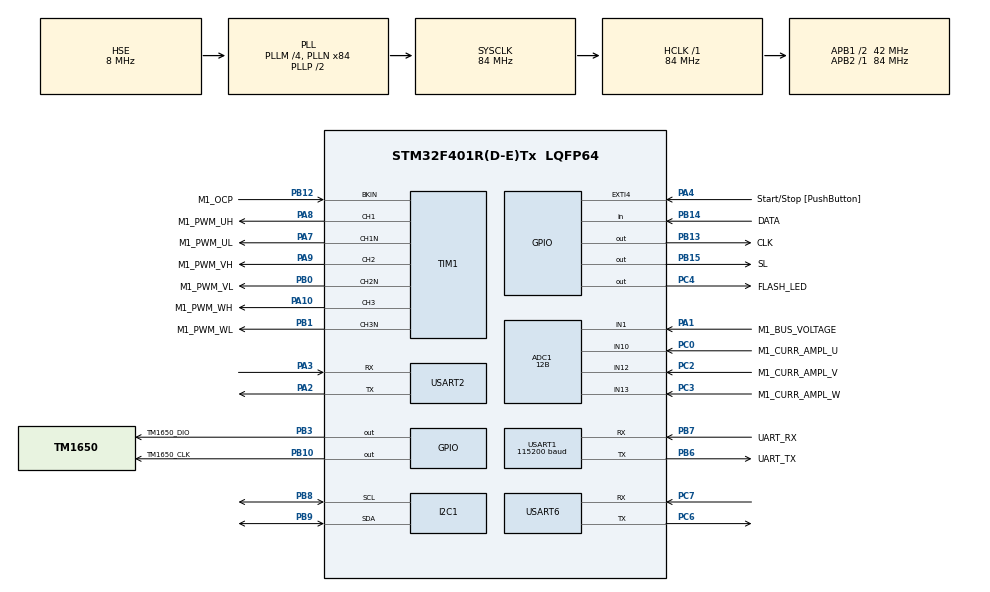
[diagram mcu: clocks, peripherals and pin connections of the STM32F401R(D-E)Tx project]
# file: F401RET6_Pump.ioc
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ADC1.Channel-1\#ChannelInjectedConversion=ADC_CHANNEL_10
ADC1.Channel-1\#ChannelRegularConversion=ADC_CHANNEL_1
ADC1.Channel-2\#ChannelInjectedConversion=ADC_CHANNEL_12
ADC1.Channel-3\#ChannelInjectedConversion=ADC_CHANNEL_13
ADC1.ClockPrescaler=ADC_CLOCK_SYNC_PCLK_DIV4
ADC1.ContinuousConvMode=DISABLE
ADC1.DMAContinuousRequests=DISABLE
ADC1.DataAlign=ADC_DATAALIGN_LEFT
ADC1.DiscontinuousConvMode=DISABLE
ADC1.EOCSelection=ADC_EOC_SINGLE_CONV
ADC1.EnableAnalogWatchDog=false
ADC1.EnableInjectedConversion=ENABLE
ADC1.EnableRegularConversion=ENABLE
ADC1.ExternalTrigConv=ADC_SOFTWARE_START
ADC1.ExternalTrigConvEdge=ADC_EXTERNALTRIGCONVEDGE_NONE
ADC1.ExternalTrigInjecConv=ADC_EXTERNALTRIGINJECCONV_T1_CC4
ADC1.ExternalTrigInjecConvEdge=ADC_EXTERNALTRIGINJECCONVEDGE_RISING
ADC1.InjNumberOfConversion=3
ADC1.InjectedConvMode=None
ADC1.InjectedOffset-1\#ChannelInjectedConversion=0
ADC1.InjectedOffset-2\#ChannelInjectedConversion=0
ADC1.InjectedOffset-3\#ChannelInjectedConversion=0
ADC1.InjectedRank-1\#ChannelInjectedConversion=1
ADC1.InjectedRank-2\#ChannelInjectedConversion=2
ADC1.InjectedRank-3\#ChannelInjectedConversion=3
ADC1.NbrOfConversion=1
ADC1.NbrOfConversionFlag=1
ADC1.Offset-1\#ChannelRegularConversion=0
ADC1.OffsetNumber-1\#ChannelRegularConversion=ADC_OFFSET_NONE
ADC1.Rank-1\#ChannelRegularConversion=1
ADC1.Resolution=ADC_RESOLUTION_12B
ADC1.SamplingTime-1\#ChannelInjectedConversion=ADC_SAMPLETIME_56CYCLES
ADC1.SamplingTime-1\#ChannelRegularConversion=ADC_SAMPLETIME_56CYCLES
ADC1.SamplingTime-2\#ChannelInjectedConversion=ADC_SAMPLETIME_56CYCLES
ADC1.SamplingTime-3\#ChannelInjectedConversion=ADC_SAMPLETIME_56CYCLES
ADC1.ScanConvMode=ENABLE
ADC1.master=1
Dma.Request0=USART1_RX
Dma.Request1=USART1_TX
Dma.USART1_RX.0.Direction=DMA_PERIPH_TO_MEMORY
Dma.USART1_RX.0.FIFOMode=DMA_FIFOMODE_DISABLE
Dma.USART1_RX.0.Instance=DMA2_Stream2
Dma.USART1_RX.0.MemDataAlignment=DMA_MDATAALIGN_BYTE
Dma.USART1_RX.0.MemInc=DMA_MINC_ENABLE
Dma.USART1_RX.0.Mode=DMA_NORMAL
Dma.USART1_RX.0.PeriphDataAlignment=DMA_PDATAALIGN_BYTE
Dma.USART1_RX.0.PeriphInc=DMA_PINC_DISABLE
Dma.USART1_RX.0.Priority=DMA_PRIORITY_LOW
Dma.USART1_TX.1.Direction=DMA_MEMORY_TO_PERIPH
Dma.USART1_TX.1.FIFOMode=DMA_FIFOMODE_DISABLE
Dma.USART1_TX.1.Instance=DMA2_Stream7
Dma.USART1_TX.1.MemDataAlignment=DMA_MDATAALIGN_BYTE
Dma.USART1_TX.1.MemInc=DMA_MINC_ENABLE
Dma.USART1_TX.1.Mode=DMA_NORMAL
Dma.USART1_TX.1.PeriphDataAlignment=DMA_PDATAALIGN_BYTE
Dma.USART1_TX.1.PeriphInc=DMA_PINC_DISABLE
Dma.USART1_TX.1.Priority=DMA_PRIORITY_LOW
ExtraMW=MotorControl
ExtraMW.MotorControl.Config=MotorControl
ExtraMW.MotorControl.Mode=MotorControl
ExtraMW.MotorControl.Root=MCSDK_v5.Y.4-Full/MotorControl
ExtraMW.MotorControl.Template=templates
FREERTOS.Mutexes01=my74HCMutex,Static,myMutex01ControlBlock
FREERTOS.Tasks01=mediumFrequency,0,128,startMediumFrequencyTask,As weak,NULL,Dynamic,NULL,NULL;safety,1,128,StartSafetyTask,As external,NULL,Dynamic,NULL,NULL;heartTask,-1,128,heartTaskEntry,Default,NULL,Static,heartTaskBuffer,heartTaskControlBlock;halTask,-1,128,halTaskEntry,Default,NULL,Static,halTaskBuffer,halTaskControlBlock
Mcu.Family=STM32F4
Mcu.Name=STM32F401R(D-E)Tx
Mcu.Package=LQFP64
MotorControl.ADC_1_PERIPH=ADC1
MotorControl.ADC_2_PERIPH=ADC2
MotorControl.ADC_AHBPERIPH=RCC_AHBPeriph_ADC12
MotorControl.ADC_CLOCK_WB_DIV=1
MotorControl.ADC_CLOCK_WB_FREQ=12
MotorControl.ADC_PERIPH=ADC1
MotorControl.ADC_REFERENCE_VOLTAGE=3.30
MotorControl.ALIGNMENT_ANGLE_DEG=90
MotorControl.ALIGNMENT_DURATION=700
MotorControl.AMPLIFICATION_GAIN=6.00
MotorControl.ANGC={0,0,0,0,0,0,0,0}
MotorControl.BEMF_CONSISTENCY_GAIN=64
MotorControl.BEMF_CONSISTENCY_TOL=64
MotorControl.BKIN1_FILTER=0
MotorControl.BKIN2_FILTER=0
MotorControl.BKIN2_MODE=NONE
MotorControl.BKIN_MODE=NONE
MotorControl.BOARD=CUSTOM
MotorControl.BRKIN2_GPIO_AF=GPIO_AF_2
MotorControl.BRKIN_GPIO_AF=GPIO_AF_1
MotorControl.BUS_VOLTAGE_READING=true
MotorControl.CCMRAM_ENABLED=false
MotorControl.CLOCK_FREQUENCY=CPU_CLK_84_MHZ
MotorControl.CLOCK_SOURCE=EXTERNAL
MotorControl.CONSTANT1_D=102943
MotorControl.CONSTANT1_Q=102943
MotorControl.CONSTANT2_QD=49861
MotorControl.CORD_BEMF_CONSISTENCY_GAIN=64
MotorControl.CORD_BEMF_CONSISTENCY_TOL=64
MotorControl.CORD_F1=16384
MotorControl.CORD_F2=16384
MotorControl.CORD_FIFO_DEPTH_01HZ=64
MotorControl.CORD_FIFO_DEPTH_DPP=64
MotorControl.CORD_GAIN1=-24064
MotorControl.CORD_GAIN2=16060
MotorControl.CORD_MAX_ACCEL_DPPP=51
MotorControl.CORD_MEAS_ERRORS_BEFORE_FAULTS=5
MotorControl.CORD_VARIANCE_THRESHOLD=4
MotorControl.CPU_CLK_84_MHZ=true
MotorControl.CTRBDID=0
MotorControl.CUBE_MX_VER=6.7.0
MotorControl.CURRENT_READING_TOPOLOGY=THREE_SHUNT
MotorControl.CURR_SAMPLING_TIME=3
MotorControl.DAC_EMULATED=false
MotorControl.DAC_FUNCTIONALITY=false
MotorControl.DAC_TIMER_CH1_GPIO_PIN=LL_GPIO_PIN_0
MotorControl.DAC_TIMER_CH1_GPIO_PORT=GPIOA
MotorControl.DAC_TIMER_CH2_GPIO_PIN=LL_GPIO_PIN_0
MotorControl.DAC_TIMER_CH2_GPIO_PORT=GPIOA
MotorControl.DAC_TIMER_SELECTION=TIM3
MotorControl.DC_CURRENT_RS_MEAS=12.00
MotorControl.DEBUG_DAC_CH1=false
MotorControl.DEBUG_DAC_CH2=false
MotorControl.DEFAULT_CONTROL_MODE=STC_SPEED_MODE
MotorControl.DEFAULT_DAC_CHANNEL_1=MC_PROTOCOL_REG_I_A
MotorControl.DEFAULT_DAC_CHANNEL_2=MC_PROTOCOL_REG_I_B
MotorControl.DEFAULT_DAC_MOTOR=0
MotorControl.DEFAULT_FLUX_COMPONENT=0
MotorControl.DEFAULT_TARGET_SPEED_RPM=1500
MotorControl.DEFAULT_TORQUE_COMPONENT=0
MotorControl.DISCONTINUOUS_PWM=false
MotorControl.DISSIPATIVE_BRAKE_POLARITY=DOUT_ACTIVE_HIGH
MotorControl.DRIVES_NUMBER_SELECTION=SINGLEDRIVE
MotorControl.EMERGENCY2_STOP_GPIO_PIN=LL_GPIO_PIN_12
MotorControl.EMERGENCY2_STOP_GPIO_PORT=GPIOB
MotorControl.EMERGENCY_STOP_GPIO_PIN=LL_GPIO_PIN_12
MotorControl.EMERGENCY_STOP_GPIO_PORT=GPIOB
MotorControl.ENABLE_SL_ALGO_FROM_PHASE=3
MotorControl.ENCODER_AVAILABLE=false
MotorControl.ENCODER_PPR=400
MotorControl.ENC_AVERAGING_FIFO_DEPTH=16
MotorControl.ENC_A_GPIO_PIN=LL_GPIO_PIN_0
MotorControl.ENC_A_GPIO_PORT=GPIOA
MotorControl.ENC_B_GPIO_PIN=LL_GPIO_PIN_3
MotorControl.ENC_B_GPIO_PORT=GPIOB
MotorControl.ENC_ICx_FILTER=59
MotorControl.ENC_INVERT_SPEED=false
MotorControl.ENC_MEAS_ERRORS_BEFORE_FAULTS=5
MotorControl.ENC_TIMER_REMAPPING=NO_REMAP_TIM2
MotorControl.ENC_TIMER_SELECTION=ENC_TIM2
MotorControl.ENC_USE_CH3=false
MotorControl.EXT_CLK_8_MHZ=true
MotorControl.EXT_CLOCK_FREQUENCY=EXT_CLK_8_MHZ
MotorControl.F1=16384
MotorControl.F2=16384
MotorControl.FEEDBACK_NET_FILTERING=false
MotorControl.FEED_FORWARD_CURRENT_REG_ENABLING=false
MotorControl.FINAL_I_ALIGNMENT=4646
MotorControl.FLUX_WEAKENING_ENABLING=false
MotorControl.FW_KIDIV=32768
MotorControl.FW_KI_GAIN=5000
MotorControl.FW_KPDIV=32768
MotorControl.FW_KP_GAIN=3000
MotorControl.FW_VOLTAGE_REF=985
MotorControl.GAIN1=-24064
MotorControl.GAIN2=16060
MotorControl.H1_GPIO_PIN=LL_GPIO_PIN_0
MotorControl.H1_GPIO_PORT=GPIOA
MotorControl.H2_GPIO_PIN=LL_GPIO_PIN_3
MotorControl.H2_GPIO_PORT=GPIOB
MotorControl.H3_GPIO_PIN=LL_GPIO_PIN_10
MotorControl.H3_GPIO_PORT=GPIOB
MotorControl.HALL_AVERAGING_FIFO_DEPTH=6
MotorControl.HALL_ICx_FILTER=109
MotorControl.HALL_MEAS_ERRORS_BEFORE_FAULTS=5
MotorControl.HALL_MTPA=false
MotorControl.HALL_PHASE_SHIFT=300
MotorControl.HALL_SENSORS_AVAILABLE=false
MotorControl.HALL_SENSORS_PLACEMENT=DEGREES_120
MotorControl.HALL_TIMER_REMAPPING=NO_REMAP_TIM2
MotorControl.HALL_TIMER_SELECTION=HALL_TIM2
MotorControl.HFI_AMPLITUDE=25
MotorControl.HFI_DC_0_COEFF=0.00146
MotorControl.HFI_DC_1_COEFF=0.002921
MotorControl.HFI_DC_2_COEFF=0.00146
MotorControl.HFI_DC_3_COEFF=1.889033
MotorControl.HFI_DC_4_COEFF=-0.894874
MotorControl.HFI_DEBUG_MODE=false
MotorControl.HFI_FREQUENCY=400
MotorControl.HFI_HIFRAMPLSCAN=25
MotorControl.HFI_HP_ID_0_COEFF=0.920407
MotorControl.HFI_HP_ID_1_COEFF=-1.840814
MotorControl.HFI_HP_ID_2_COEFF=0.920407
MotorControl.HFI_HP_ID_3_COEFF=1.834469
MotorControl.HFI_HP_ID_4_COEFF=-0.847159
MotorControl.HFI_IDH_DELAY=32400
MotorControl.HFI_LOCKFREQ=44
MotorControl.HFI_LP_ID_0_COEFF=0.010248
MotorControl.HFI_LP_ID_1_COEFF=0.020497
MotorControl.HFI_LP_ID_2_COEFF=0.010248
MotorControl.HFI_LP_ID_3_COEFF=1.693906
MotorControl.HFI_LP_ID_4_COEFF=-0.734899
MotorControl.HFI_MAXANGLEDIFF=3640
MotorControl.HFI_MINIMUM_SPEED_RPM=402
MotorControl.HFI_NOTCH_IQD_0_COEFF=0.959976
MotorControl.HFI_NOTCH_IQD_1_COEFF=-1.893066
MotorControl.HFI_NOTCH_IQD_2_COEFF=0.959976
MotorControl.HFI_NOTCH_IQD_3_COEFF=1.893066
MotorControl.HFI_NOTCH_IQD_4_COEFF=-0.919953
MotorControl.HFI_NSDETPOINTSSKIP=10
MotorControl.HFI_NSMAXDETPOINTS=20
MotorControl.HFI_NS_MIN_SAT_DIFF=0
MotorControl.HFI_PID_KIDIV=32768
MotorControl.HFI_PID_KI_DEFAULT=400
MotorControl.HFI_PID_KPDIV=16384
MotorControl.HFI_PID_KP_DEFAULT=800
MotorControl.HFI_PLL_KI_DEFAULT=0.00400
MotorControl.HFI_PLL_KP_DEFAULT=0.00060
MotorControl.HFI_RESTARTTIMESEC=0.1
MotorControl.HFI_RESTART_RPM_TH=(((HFI_STO_RPM_TH)+(STO_HFI_RPM_TH))/2)
MotorControl.HFI_REVERT_DIRECTION=true
MotorControl.HFI_SCANROTATIONSNO=3
MotorControl.HFI_SPD_BUFFER_DEPTH_01HZ=64
MotorControl.HFI_STEPANGLE=3640
MotorControl.HFI_STO_RPM_TH=OBS_MINIMUM_SPEED_RPM
MotorControl.HFI_WAITAFTERNS2=4
MotorControl.HFI_WAITBEFORESN=6
MotorControl.HFI_WAITSYNCH=20
MotorControl.HFI_WAITTRACK=20
MotorControl.HIGH_SIDE_BRAKE_STATE=false
MotorControl.HIGH_SIDE_IDLE_STATE=false
MotorControl.HW_COMPLEMENTED_LOW_SIDE=false
MotorControl.HW_DEAD_TIME_NS=100
MotorControl.HW_OV_CURRENT_PROT_BYPASS=false
MotorControl.ID_DEMAG=-28596
MotorControl.INRUSH_CURRLIMIT_AT_POWER_ON=true
MotorControl.INRUSH_CURRLIMIT_CHANGE_AFTER_MS=1000
MotorControl.INRUSH_CURRLIMIT_ENABLING=false
MotorControl.INRUSH_CURRLIMIT_GPIO_PIN=LL_GPIO_PIN_4
MotorControl.INRUSH_CURRLIMIT_GPIO_PORT=GPIOE
MotorControl.INRUSH_CURR_LIMITER_POLARITY=DOUT_ACTIVE_HIGH
MotorControl.INTERNAL_OVERCURRENTPROTECTION=false
MotorControl.INTERNAL_OVERVOLTAGEPROTECTION=false
MotorControl.IPs=NVIC,RCC,MotorControl,TIM1,ADC1,USART1,FREERTOS,DMA
MotorControl.IQMAX=28596
MotorControl.LCD_JOYSTICK_FUNCTIONALITY=false
MotorControl.LCD_MODE=LCD_FULL
MotorControl.LDLQ_RATIO=1.000
MotorControl.LOW_SIDE_BRAKE_STATE=false
MotorControl.LOW_SIDE_IDLE_STATE=false
MotorControl.LOW_SIDE_SIGNALS_ENABLING=LS_PWM_TIMER
MotorControl.LS=0.000400
MotorControl.MAX_APPLICATION_SPEED=6000
MotorControl.MAX_MODULATION_98_PER_CENT=true
MotorControl.MAX_MODULATION_INDEX=MAX_MODULATION_98_PER_CENT
MotorControl.MCU=STM32F401RE
MotorControl.MCU_TYPE=STM32F401XX
MotorControl.MC_WORKBENCH_VERSION=5.Y.4.21553
MotorControl.MEAS_ERRORS_BEFORE_FAULTS=5
MotorControl.MIN_APPLICATION_SPEED=0
MotorControl.MOTOR_MAX_SPEED_RPM=6000
MotorControl.MOTOR_TYPE=PMSM
MotorControl.MOTOR_VOLTAGE_CONSTANT=8.2
MotorControl.MTPA_ENABLING=false
MotorControl.NB_CONSECUTIVE_TESTS=6
MotorControl.NOMINAL_BUS_VOLTAGE_V=48
MotorControl.NOMINAL_CURRENT=28596
MotorControl.OBS_MEAS_ERRORS_BEFORE_FAULTS=5
MotorControl.OBS_MINIMUM_SPEED_RPM=700
MotorControl.OCPA_INVERTINGINPUT=COMPX_InvertingInput_VREF
MotorControl.OCPA_INVERTINGINPUT_GPIO_PIN=LL_GPIO_PIN_4
MotorControl.OCPA_INVERTINGINPUT_GPIO_PORT=GPIOA
MotorControl.OCPA_INVERTINGINPUT_MODE=INT_MODE
MotorControl.OCPA_NONINVERTINGINPUT=COMP1_NonInvertingInput_PA1
MotorControl.OCPA_NONINVERTINGINPUT_GPIO_PIN=LL_GPIO_PIN_1
MotorControl.OCPA_NONINVERTINGINPUT_GPIO_PORT=GPIOA
MotorControl.OCPA_OUTPUT=COMP_Output_TIM1BKIN2
MotorControl.OCPA_OUTPUTPOL=COMP_OutputPol_NonInverted
MotorControl.OCPA_OUTPUT_GPIO_AF=GPIO_AF_2
MotorControl.OCPA_OUTPUT_GPIO_PIN=LL_GPIO_PIN_0
MotorControl.OCPA_OUTPUT_GPIO_PORT=GPIOA
MotorControl.OCPA_OUTPUT_MODE=INT_MODE
MotorControl.OCPA_SELECTION=COMP1
MotorControl.OCPB_INVERTINGINPUT=COMPX_InvertingInput_VREF
MotorControl.OCPB_INVERTINGINPUT_GPIO_PIN=LL_GPIO_PIN_4
MotorControl.OCPB_INVERTINGINPUT_GPIO_PORT=GPIOA
MotorControl.OCPB_INVERTINGINPUT_MODE=INT_MODE
MotorControl.OCPB_NONINVERTINGINPUT=COMP2_NonInvertingInput_PA7
MotorControl.OCPB_NONINVERTINGINPUT_GPIO_PIN=LL_GPIO_PIN_7
MotorControl.OCPB_NONINVERTINGINPUT_GPIO_PORT=GPIOA
MotorControl.OCPB_OUTPUT=COMP_Output_TIM1BKIN2
MotorControl.OCPB_OUTPUTPOL=COMP_OutputPol_NonInverted
MotorControl.OCPB_OUTPUT_GPIO_AF=GPIO_AF_2
MotorControl.OCPB_OUTPUT_GPIO_PIN=LL_GPIO_PIN_2
MotorControl.OCPB_OUTPUT_GPIO_PORT=GPIOA
MotorControl.OCPB_OUTPUT_MODE=INT_MODE
MotorControl.OCPB_SELECTION=COMP2
MotorControl.OCPC_INVERTINGINPUT=COMPX_InvertingInput_VREF
MotorControl.OCPC_INVERTINGINPUT_GPIO_PIN=LL_GPIO_PIN_4
MotorControl.OCPC_INVERTINGINPUT_GPIO_PORT=GPIOA
MotorControl.OCPC_INVERTINGINPUT_MODE=INT_MODE
MotorControl.OCPC_NONINVERTINGINPUT=COMP3_NonInvertingInput_PD14
MotorControl.OCPC_NONINVERTINGINPUT_GPIO_PIN=LL_GPIO_PIN_14
MotorControl.OCPC_NONINVERTINGINPUT_GPIO_PORT=GPIOD
MotorControl.OCPC_OUTPUT=COMP_Output_TIM1BKIN2
MotorControl.OCPC_OUTPUTPOL=COMP_OutputPol_NonInverted
MotorControl.OCPC_OUTPUT_GPIO_AF=GPIO_AF_2
MotorControl.OCPC_OUTPUT_GPIO_PIN=LL_GPIO_PIN_8
MotorControl.OCPC_OUTPUT_GPIO_PORT=GPIOC
MotorControl.OCPC_OUTPUT_MODE=INT_MODE
MotorControl.OCPC_SELECTION=COMP3
MotorControl.OCPREF=23830
MotorControl.OCP_COMP_THRESHOLD=1.70
MotorControl.OCP_FILTER=COMP_Mode_HighSpeed
MotorControl.OCP_INVERTINGINPUT=COMPX_InvertingInput_VREF
MotorControl.OCP_INVERTINGINPUT_GPIO_PIN=LL_GPIO_PIN_4
MotorControl.OCP_INVERTINGINPUT_GPIO_PORT=GPIOA
MotorControl.OCP_INVERTINGINPUT_MODE=INT_MODE
MotorControl.OCP_NONINVERTINGINPUT=COMP2_NonInvertingInput_PA7
MotorControl.OCP_NONINVERTINGINPUT_GPIO_PIN=LL_GPIO_PIN_7
MotorControl.OCP_NONINVERTINGINPUT_GPIO_PORT=GPIOA
MotorControl.OCP_OUTPUT=COMP_Output_TIM1BKIN2
MotorControl.OCP_OUTPUTPOL=COMP_OutputPol_NonInverted
MotorControl.OCP_OUTPUT_GPIO_AF=GPIO_AF_2
MotorControl.OCP_OUTPUT_GPIO_PIN=LL_GPIO_PIN_2
MotorControl.OCP_OUTPUT_GPIO_PORT=GPIOA
MotorControl.OCP_OUTPUT_MODE=INT_MODE
MotorControl.OCP_SELECTION=COMP2
MotorControl.OFST={0,0,0,0,0,0,0,0}
MotorControl.ON_OVER_VOLTAGE=TURN_OFF_PWM
MotorControl.OPAMP1_INVERTINGINPUT=OPAMP1_InvertingInput_PGA
MotorControl.OPAMP1_INVERTINGINPUT_GPIO_PIN=LL_GPIO_PIN_3
MotorControl.OPAMP1_INVERTINGINPUT_GPIO_PORT=GPIOA
MotorControl.OPAMP1_INVERTINGINPUT_MODE=INT_MODE
MotorControl.OPAMP1_NONINVERTINGINPUT_PHA=OPAMP1_NonInvertingInput_PA1
MotorControl.OPAMP1_NONINVERTINGINPUT_PHA_GPIO_PIN=LL_GPIO_PIN_1
MotorControl.OPAMP1_NONINVERTINGINPUT_PHA_GPIO_PORT=GPIOA
MotorControl.OPAMP1_NONINVERTINGINPUT_PHB=OPAMP1_NonInvertingInput_PA7
MotorControl.OPAMP1_NONINVERTINGINPUT_PHB_GPIO_PIN=LL_GPIO_PIN_7
MotorControl.OPAMP1_NONINVERTINGINPUT_PHB_GPIO_PORT=GPIOA
MotorControl.OPAMP1_OUT_GPIO_PIN=LL_GPIO_PIN_2
MotorControl.OPAMP1_OUT_GPIO_PORT=GPIOA
MotorControl.OPAMP1_SELECTION=OPAMP1
MotorControl.OPAMP2_INVERTINGINPUT=OPAMP2_InvertingInput_PGA
MotorControl.OPAMP2_INVERTINGINPUT_GPIO_PIN=LL_GPIO_PIN_5
MotorControl.OPAMP2_INVERTINGINPUT_GPIO_PORT=GPIOC
MotorControl.OPAMP2_INVERTINGINPUT_MODE=INT_MODE
MotorControl.OPAMP2_NONINVERTINGINPUT_PHA=OPAMP2_NonInvertingInput_PB14
MotorControl.OPAMP2_NONINVERTINGINPUT_PHA_GPIO_PIN=LL_GPIO_PIN_14
MotorControl.OPAMP2_NONINVERTINGINPUT_PHA_GPIO_PORT=GPIOB
MotorControl.OPAMP2_NONINVERTINGINPUT_PHB=OPAMP2_NonInvertingInput_PA7
MotorControl.OPAMP2_NONINVERTINGINPUT_PHB_GPIO_PIN=LL_GPIO_PIN_7
MotorControl.OPAMP2_NONINVERTINGINPUT_PHB_GPIO_PORT=GPIOA
MotorControl.OPAMP2_NONINVERTINGINPUT_PHC=OPAMP2_NonInvertingInput_PB14
MotorControl.OPAMP2_NONINVERTINGINPUT_PHC_GPIO_PIN=LL_GPIO_PIN_14
MotorControl.OPAMP2_NONINVERTINGINPUT_PHC_GPIO_PORT=GPIOB
MotorControl.OPAMP2_OUT_GPIO_PIN=LL_GPIO_PIN_6
MotorControl.OPAMP2_OUT_GPIO_PORT=GPIOA
MotorControl.OPAMP2_SELECTION=OPAMP2
MotorControl.OPAMP3_INVERTINGINPUT=OPAMP1_InvertingInput_PGA
MotorControl.OPAMP3_INVERTINGINPUT_GPIO_PIN=LL_GPIO_PIN_0
MotorControl.OPAMP3_INVERTINGINPUT_GPIO_PORT=GPIOA
MotorControl.OPAMP3_INVERTINGINPUT_MODE=INT_MODE
MotorControl.OPAMP3_SELECTION=OPAMP1
MotorControl.OPAMP_INVERTINGINPUT=OPAMP1_InvertingInput_PGA
MotorControl.OPAMP_INVERTINGINPUT_GPIO_PIN=LL_GPIO_PIN_3
MotorControl.OPAMP_INVERTINGINPUT_GPIO_PORT=GPIOA
MotorControl.OPAMP_INVERTINGINPUT_MODE=INT_MODE
MotorControl.OPAMP_NONINVERTINGINPUT=OPAMP1_NonInvertingInput_PA7
MotorControl.OPAMP_NONINVERTINGINPUT_GPIO_PIN=LL_GPIO_PIN_7
MotorControl.OPAMP_NONINVERTINGINPUT_GPIO_PORT=GPIOA
MotorControl.OPAMP_OUT_GPIO_PIN=LL_GPIO_PIN_2
MotorControl.OPAMP_OUT_GPIO_PORT=GPIOA
MotorControl.OPAMP_PGACONNECT=OPAMP_PGAConnect_No
MotorControl.OPAMP_PGAGAIN=OPAMP_OPAMP_PGAGain_2
MotorControl.OPAMP_SELECTION=OPAMP1
MotorControl.OPAMP_TYPE_GAIN=INTERNAL
MotorControl.OPEN_LOOP_FOC=false
MotorControl.OPEN_LOOP_K=44
MotorControl.OPEN_LOOP_OFF=4400
MotorControl.OPEN_LOOP_SPEED_RAMP_DURATION_MS=1000
MotorControl.OPEN_LOOP_SPEED_RPM=100
MotorControl.OPEN_LOOP_VF=false
MotorControl.OPEN_LOOP_VOLTAGE_d=6000
MotorControl.OVERCURR_FEEDBACK_POLARITY=EMSTOP_ACTIVE_LOW
MotorControl.OVERCURR_PROTECTION_HW_DISABLING=DOUT_ACTIVE_HIGH
MotorControl.OVERMODULATION=false
MotorControl.OVPREF=23830
MotorControl.OVP_FILTER=COMP_Mode_HighSpeed
MotorControl.OVP_INVERTINGINPUT=COMPX_InvertingInput_VREF
MotorControl.OVP_INVERTINGINPUT_GPIO_PIN=LL_GPIO_PIN_4
MotorControl.OVP_INVERTINGINPUT_GPIO_PORT=GPIOA
MotorControl.OVP_INVERTINGINPUT_MODE=INT_MODE
MotorControl.OVP_NONINVERTINGINPUT=COMP7_NonInvertingInput_PA0
MotorControl.OVP_NONINVERTINGINPUT_GPIO_PIN=LL_GPIO_PIN_0
MotorControl.OVP_NONINVERTINGINPUT_GPIO_PORT=GPIOA
MotorControl.OVP_OUTPUT=COMP_Output_TIM1BKIN
MotorControl.OVP_OUTPUTPOL=COMP_OutputPol_NonInverted
MotorControl.OVP_OUTPUT_GPIO_AF=GPIO_AF_2
MotorControl.OVP_OUTPUT_GPIO_PIN=LL_GPIO_PIN_2
MotorControl.OVP_OUTPUT_GPIO_PORT=GPIOC
MotorControl.OVP_OUTPUT_MODE=INT_MODE
MotorControl.OVP_SELECTION=COMP7
MotorControl.OV_CURR_BYPASS_GPIO_PIN=LL_GPIO_PIN_5
MotorControl.OV_CURR_BYPASS_GPIO_PORT=GPIOE
MotorControl.OV_TEMPERATURE_HYSTERESIS_C=10
MotorControl.OV_TEMPERATURE_PROT_ENABLING=false
MotorControl.OV_TEMPERATURE_THRESHOLD_C=70
MotorControl.OV_VOLTAGE_PROT_ENABLING=true
MotorControl.OV_VOLTAGE_THRESHOLD_V=60
MotorControl.PHASE1_DURATION=0
MotorControl.PHASE1_FINAL_CURRENT=0
MotorControl.PHASE1_FINAL_SPEED_RPM=0
MotorControl.PHASE2_DURATION=1500
MotorControl.PHASE2_FINAL_CURRENT=4766
MotorControl.PHASE2_FINAL_SPEED_RPM=0
MotorControl.PHASE3_DURATION=350
MotorControl.PHASE3_FINAL_CURRENT=4766
MotorControl.PHASE3_FINAL_SPEED_RPM=630
MotorControl.PHASE4_DURATION=1150
MotorControl.PHASE4_FINAL_CURRENT=4766
MotorControl.PHASE4_FINAL_SPEED_RPM=2700
MotorControl.PHASE5_DURATION=0
MotorControl.PHASE5_FINAL_CURRENT=4766
MotorControl.PHASE5_FINAL_SPEED_RPM=2700
MotorControl.PHASE_CURRENTS_ADC=ADC1_2
MotorControl.PHASE_CURRENTS_CHANNEL=ADC_CHANNEL_9
MotorControl.PHASE_CURRENTS_GPIO_PIN=LL_GPIO_PIN_0
MotorControl.PHASE_CURRENTS_GPIO_PORT=GPIOA
MotorControl.PHASE_UH_GPIO_AF=GPIO_AF_6
MotorControl.PHASE_UH_GPIO_PIN=LL_GPIO_PIN_8
MotorControl.PHASE_UH_GPIO_PORT=GPIOA
MotorControl.PHASE_UH_POLARITY=H_ACTIVE_HIGH
MotorControl.PHASE_UL_GPIO_AF=GPIO_AF_1
MotorControl.PHASE_UL_GPIO_PIN=LL_GPIO_PIN_7
MotorControl.PHASE_UL_GPIO_PORT=GPIOA
MotorControl.PHASE_UL_POLARITY=L_ACTIVE_HIGH
MotorControl.PHASE_U_CURR_ADC=ADC1
MotorControl.PHASE_U_CURR_CHANNEL=ADC_CHANNEL_10
MotorControl.PHASE_U_GPIO_PIN=LL_GPIO_PIN_0
MotorControl.PHASE_U_GPIO_PORT=GPIOC
MotorControl.PHASE_VH_GPIO_AF=GPIO_AF_6
MotorControl.PHASE_VH_GPIO_PIN=LL_GPIO_PIN_9
MotorControl.PHASE_VH_GPIO_PORT=GPIOA
MotorControl.PHASE_VH_POLARITY=H_ACTIVE_HIGH
MotorControl.PHASE_VL_GPIO_AF=GPIO_AF_1
MotorControl.PHASE_VL_GPIO_PIN=LL_GPIO_PIN_0
MotorControl.PHASE_VL_GPIO_PORT=GPIOB
MotorControl.PHASE_VL_POLARITY=L_ACTIVE_HIGH
MotorControl.PHASE_V_CURR_ADC=ADC1
MotorControl.PHASE_V_CURR_CHANNEL=ADC_CHANNEL_12
MotorControl.PHASE_V_GPIO_PIN=LL_GPIO_PIN_2
MotorControl.PHASE_V_GPIO_PORT=GPIOC
MotorControl.PHASE_WH_GPIO_AF=GPIO_AF_6
MotorControl.PHASE_WH_GPIO_PIN=LL_GPIO_PIN_10
MotorControl.PHASE_WH_GPIO_PORT=GPIOA
MotorControl.PHASE_WH_POLARITY=H_ACTIVE_HIGH
MotorControl.PHASE_WL_GPIO_AF=GPIO_AF_1
MotorControl.PHASE_WL_GPIO_PIN=LL_GPIO_PIN_1
MotorControl.PHASE_WL_GPIO_PORT=GPIOB
MotorControl.PHASE_WL_POLARITY=L_ACTIVE_HIGH
MotorControl.PHASE_W_CURR_ADC=ADC1
MotorControl.PHASE_W_CURR_CHANNEL=ADC_CHANNEL_13
MotorControl.PHASE_W_GPIO_PIN=LL_GPIO_PIN_3
MotorControl.PHASE_W_GPIO_PORT=GPIOC
MotorControl.PID_FLUX_KD_DEFAULT=100
MotorControl.PID_FLUX_KI_DEFAULT=313
MotorControl.PID_FLUX_KP_DEFAULT=3755
MotorControl.PID_SPEED_KD_DEFAULT=0
MotorControl.PID_SPEED_KI_DEFAULT=451
MotorControl.PID_SPEED_KP_DEFAULT=2518
MotorControl.PID_TORQUE_KD_DEFAULT=100
MotorControl.PID_TORQUE_KI_DEFAULT=313
MotorControl.PID_TORQUE_KP_DEFAULT=3755
MotorControl.PLL_KI_GAIN=30
MotorControl.PLL_KP_GAIN=638
MotorControl.POLE_PAIR_NUM=3
MotorControl.POSITION_CTRL_ENABLING=false
MotorControl.PWBDID=0
MotorControl.PWM_FREQUENCY=15000
MotorControl.PWM_TIMER_REMAPPING=PWM_NO_REMAP
MotorControl.PWM_TIMER_SELECTION=PWM_TIM1
MotorControl.REGCONVADC=ADC1
MotorControl.REGULATION_EXECUTION_RATE=1
MotorControl.RS=0.25
MotorControl.RSHUNT=0.02000
MotorControl.RTOS=FREERTOS
MotorControl.RTOS_TIMER=TIM3
MotorControl.RTOS_USE_IRQ=true
MotorControl.R_BRAKE_GPIO_PIN=LL_GPIO_PIN_5
MotorControl.R_BRAKE_GPIO_PORT=GPIOE
MotorControl.R_BRAKE_SWITCH_OFF_THRES_V=48
MotorControl.SEGDIV=0
MotorControl.SERIAL_COMMUNICATION=true
MotorControl.SERIAL_COM_CHANNEL1=MC_PROTOCOL_REG_I_A
MotorControl.SERIAL_COM_CHANNEL2=MC_PROTOCOL_REG_I_A
MotorControl.SERIAL_COM_MODE=COM_BIDIRECTIONAL
MotorControl.SERIAL_COM_MOTOR=0
MotorControl.SHARED_SIGNAL_ENABLE=false
MotorControl.SINGLEDRIVE=true
MotorControl.SPD_DIFFERENTIAL_TERM_ENABLING=false
MotorControl.SPEED_BAND_LOWER_LIMIT=15
MotorControl.SPEED_BAND_UPPER_LIMIT=17
MotorControl.SPEED_FEEDBACK_CHECK=true
MotorControl.SPEED_LOOP_FREQUENCY_HZ=1000
MotorControl.SPEED_SENSOR_SELECTION=STATE_OBSERVER_PLL
MotorControl.SP_KDDIV=16
MotorControl.SP_KIDIV=16384
MotorControl.SP_KPDIV=256
MotorControl.STARTING_ANGLE_DEG=90
MotorControl.START_STOP_BTN=true
MotorControl.START_STOP_GPIO_PIN=LL_GPIO_PIN_4
MotorControl.START_STOP_GPIO_PORT=GPIOA
MotorControl.START_STOP_POLARITY=DIN_ACTIVE_LOW
MotorControl.START_STOP_POLARITY_EDGE=GPIO_PULLUP
MotorControl.STATE_OBSERVER_PLL=true
MotorControl.STM32F401XX=true
MotorControl.STO_FIFO_DEPTH_01HZ=64
MotorControl.STO_FIFO_DEPTH_DPP=64
MotorControl.STO_HFI_RPM_TH=460
MotorControl.SW_DEADTIME_NS=300
MotorControl.SW_OV_CURRENT_PROT_ENABLING=false
MotorControl.T0_C=25
MotorControl.TEMPERATURE_READING=false
MotorControl.TEMP_ADC_SAMPLING_TIME=3
MotorControl.TEMP_FDBK_ADC=ADC1
MotorControl.TEMP_FDBK_CHANNEL=ADC_CHANNEL_5
MotorControl.TEMP_FDBK_GPIO_PIN=LL_GPIO_PIN_5
MotorControl.TEMP_FDBK_GPIO_PORT=GPIOA
MotorControl.TFDIFFERENTIAL_TERM_ENABLING=false
MotorControl.TF_KDDIV=8192
MotorControl.TF_KIDIV=16384
MotorControl.TF_KPDIV=8192
MotorControl.THREE_SHUNT=true
MotorControl.TNOISE_NS=2550
MotorControl.TRANSITION_DURATION=25
MotorControl.TRISE_NS=2550
MotorControl.T_MAX=70
MotorControl.UD_VOLTAGE_THRESHOLD_V=42
MotorControl.USART_REMAPPING=NO_REMAP_USART1
MotorControl.USART_RX_GPIO_PIN=LL_GPIO_PIN_7
MotorControl.USART_RX_GPIO_PORT=GPIOB
MotorControl.USART_SELECTION=USE_USART1
MotorControl.USART_SPEED=115200
MotorControl.USART_TX_GPIO_PIN=LL_GPIO_PIN_6
MotorControl.USART_TX_GPIO_PORT=GPIOB
MotorControl.USE_3OPAMPS=false
MotorControl.USE_INTERNAL_OPAMP=false
MotorControl.UV_VOLTAGE_PROT_ENABLING=true
MotorControl.V0_V=0.290
MotorControl.VARIANCE_THRESHOLD=0.1
MotorControl.VBUS_ADC=ADC1
MotorControl.VBUS_ADC_SAMPLING_TIME=56
MotorControl.VBUS_CHANNEL=ADC_CHANNEL_1
MotorControl.VBUS_GPIO_PIN=LL_GPIO_PIN_1
MotorControl.VBUS_GPIO_PORT=GPIOA
MotorControl.VBUS_PARTITIONING_FACTOR=0.0400
MotorControl.WB_to_Mx_template_version=22-01-11
MotorControl.WB_to_Mx_version=1.6.0
MotorControl.dV_dT=0.025
NVIC.ADC_IRQn=true\:2\:0\:true\:true\:false\:3\:false\:true\:true\:true
NVIC.DMA2_Stream2_IRQn=true\:3\:0\:true\:true\:false\:2\:false\:true\:true\:true
NVIC.EXTI4_IRQn=true\:3\:0\:true\:true\:false\:6\:false\:true\:true\:true
NVIC.PriorityGroup=NVIC_PRIORITYGROUP_4
NVIC.TIM1_BRK_TIM9_IRQn=true\:4\:0\:true\:true\:false\:5\:false\:true\:true\:true
NVIC.TIM1_UP_TIM10_IRQn=true\:0\:0\:true\:true\:false\:4\:false\:true\:true\:true
NVIC.TIM3_IRQn=true\:15\:0\:false\:false\:true\:false\:false\:true\:true
NVIC.TimeBase=TIM3_IRQn
NVIC.TimeBaseIP=TIM3
NVIC.USART1_IRQn=true\:3\:0\:true\:true\:false\:1\:false\:true\:true\:true
PA1.GPIO_Label=M1_BUS_VOLTAGE
PA1.Signal=ADCx_IN1
PA10.GPIO_Label=M1_PWM_WH
PA10.GPIO_PuPd=GPIO_PULLDOWN
PA10.GPIO_Speed=GPIO_SPEED_FREQ_HIGH
PA10.Signal=S_TIM1_CH3
PA13.Mode=Serial_Wire
PA13.Signal=SYS_JTMS-SWDIO
PA14.Mode=Serial_Wire
PA14.Signal=SYS_JTCK-SWCLK
PA2.Mode=Asynchronous
PA2.Signal=USART2_TX
PA3.Mode=Asynchronous
PA3.Signal=USART2_RX
PA4.GPIO_Label=Start/Stop [PushButton]
PA4.GPIO_ModeDefaultEXTI=GPIO_MODE_IT_FALLING
PA4.GPIO_PuPd=GPIO_PULLUP
PA4.Signal=GPXTI4
PA7.GPIO_Label=M1_PWM_UL
PA7.GPIO_PuPd=GPIO_PULLDOWN
PA7.GPIO_Speed=GPIO_SPEED_FREQ_HIGH
PA7.Mode=PWM Generation1 CH1 CH1N
PA7.Signal=TIM1_CH1N
PA8.GPIO_Label=M1_PWM_UH
PA8.GPIO_PuPd=GPIO_PULLDOWN
PA8.GPIO_Speed=GPIO_SPEED_FREQ_HIGH
PA8.Signal=S_TIM1_CH1
PA9.GPIO_Label=M1_PWM_VH
PA9.GPIO_PuPd=GPIO_PULLDOWN
PA9.GPIO_Speed=GPIO_SPEED_FREQ_HIGH
PA9.Signal=S_TIM1_CH2
PB0.GPIO_Label=M1_PWM_VL
PB0.GPIO_PuPd=GPIO_PULLDOWN
PB0.GPIO_Speed=GPIO_SPEED_FREQ_HIGH
PB0.Mode=PWM Generation2 CH2 CH2N
PB0.Signal=TIM1_CH2N
PB1.GPIO_Label=M1_PWM_WL
PB1.GPIO_PuPd=GPIO_PULLDOWN
PB1.GPIO_Speed=GPIO_SPEED_FREQ_HIGH
PB1.Mode=PWM Generation3 CH3 CH3N
PB1.Signal=TIM1_CH3N
PB10.GPIO_Label=TM1650_CLK
PB10.GPIO_ModeDefaultOutputPP=GPIO_MODE_OUTPUT_OD
PB10.GPIO_PuPd=GPIO_NOPULL
PB10.Signal=GPIO_Output
PB12.GPIO_Label=M1_OCP
PB12.GPIO_PuPd=GPIO_PULLUP
PB12.Mode=Activate-Break-Input
PB12.Signal=TIM1_BKIN
PB13.GPIO_Label=CLK
PB13.GPIO_ModeDefaultOutputPP=GPIO_MODE_OUTPUT_PP
PB13.GPIO_PuPd=GPIO_NOPULL
PB13.GPIO_Speed=GPIO_SPEED_FREQ_HIGH
PB13.PinState=GPIO_PIN_RESET
PB13.Signal=GPIO_Output
PB14.GPIO_Label=DATA
PB14.GPIO_PuPd=GPIO_PULLUP
PB14.Signal=GPIO_Input
PB15.GPIO_Label=SL
PB15.GPIO_PuPd=GPIO_PULLUP
PB15.Signal=GPIO_Output
PB3.GPIO_Label=TM1650_DIO
PB3.GPIO_ModeDefaultOutputPP=GPIO_MODE_OUTPUT_OD
PB3.GPIO_PuPd=GPIO_NOPULL
PB3.Signal=GPIO_Output
PB6.GPIO_Label=UART_TX
PB6.GPIO_Mode=GPIO_MODE_AF_PP
PB6.GPIO_PuPd=GPIO_NOPULL
PB6.GPIO_Speed=GPIO_SPEED_FREQ_LOW
PB6.Mode=Asynchronous
PB6.Signal=USART1_TX
PB7.GPIO_Label=UART_RX
PB7.GPIO_Mode=GPIO_MODE_AF_PP
PB7.GPIO_PuPd=GPIO_NOPULL
PB7.GPIO_Speed=GPIO_SPEED_FREQ_LOW
PB7.Mode=Asynchronous
PB7.Signal=USART1_RX
PB8.Mode=I2C
PB8.Signal=I2C1_SCL
PB9.Mode=I2C
PB9.Signal=I2C1_SDA
PC0.GPIO_Label=M1_CURR_AMPL_U
PC0.Signal=ADCx_IN10
PC2.GPIO_Label=M1_CURR_AMPL_V
PC2.Signal=ADCx_IN12
PC3.GPIO_Label=M1_CURR_AMPL_W
PC3.Signal=ADCx_IN13
PC4.GPIO_Label=FLASH_LED
PC4.Signal=GPIO_Output
PC6.Mode=Asynchronous
PC6.Signal=USART6_TX
PC7.Mode=Asynchronous
PC7.Signal=USART6_RX
PH0\ -\ OSC_IN.Mode=HSE-External-Oscillator
PH0\ -\ OSC_IN.Signal=RCC_OSC_IN
PH1\ -\ OSC_OUT.Mode=HSE-External-Oscillator
PH1\ -\ OSC_OUT.Signal=RCC_OSC_OUT
ProjectManager.HeapSize=0x200
ProjectManager.StackSize=0x400
ProjectManager.TargetToolchain=MDK-ARM V5
RCC.48MHZClocksFreq_Value=42000000
RCC.AHBFreq_Value=84000000
RCC.APB1CLKDivider=RCC_HCLK_DIV2
RCC.APB1Freq_Value=42000000
RCC.APB1TimFreq_Value=84000000
RCC.APB2Freq_Value=84000000
RCC.APB2TimFreq_Value=84000000
RCC.CortexFreq_Value=84000000
RCC.HCLKFreq_Value=84000000
RCC.HSE_VALUE=8000000
RCC.HSI_VALUE=16000000
RCC.LSE_VALUE=32768
RCC.PLLM=4
RCC.PLLN=84
RCC.PLLSourceVirtual=RCC_PLLSOURCE_HSE
RCC.SYSCLKFreq_VALUE=84000000
RCC.SYSCLKSource=RCC_SYSCLKSOURCE_PLLCLK
RCC.VCOOutputFreq_Value=168000000
SH.ADCx_IN1.0=ADC1_IN1,IN1
SH.ADCx_IN10.0=ADC1_IN10,IN10
SH.ADCx_IN12.0=ADC1_IN12,IN12
SH.ADCx_IN13.0=ADC1_IN13,IN13
SH.S_TIM1_CH1.0=TIM1_CH1,PWM Generation1 CH1 CH1N
SH.S_TIM1_CH2.0=TIM1_CH2,PWM Generation2 CH2 CH2N
SH.S_TIM1_CH3.0=TIM1_CH3,PWM Generation3 CH3 CH3N
TIM1.BreakPolarity=TIM_BREAKPOLARITY_LOW
TIM1.BreakState=TIM_BREAK_ENABLE
TIM1.Channel-PWM\ Generation1\ CH1\ CH1N=TIM_CHANNEL_1
TIM1.Channel-PWM\ Generation2\ CH2\ CH2N=TIM_CHANNEL_2
TIM1.Channel-PWM\ Generation3\ CH3\ CH3N=TIM_CHANNEL_3
TIM1.Channel-PWM\ Generation4\ No\ Output=TIM_CHANNEL_4
TIM1.ClockDivision=TIM_CLOCKDIVISION_DIV2
TIM1.CounterMode=TIM_COUNTERMODE_CENTERALIGNED1
TIM1.DeadTime=((DEAD_TIME_COUNTS) / 2)
TIM1.LockLevel=TIM_LOCKLEVEL_1
TIM1.OCIdleState_1=TIM_OCIDLESTATE_RESET
TIM1.OCIdleState_2=TIM_OCIDLESTATE_RESET
TIM1.OCIdleState_3=TIM_OCIDLESTATE_RESET
TIM1.OCMode_PWM-PWM\ Generation4\ No\ Output=TIM_OCMODE_PWM2
TIM1.OCNIdleState_1=TIM_OCNIDLESTATE_RESET
TIM1.OCNIdleState_2=TIM_OCNIDLESTATE_RESET
TIM1.OCNIdleState_3=TIM_OCNIDLESTATE_RESET
TIM1.OCNPolarity_1=TIM_OCNPOLARITY_HIGH
TIM1.OCNPolarity_2=TIM_OCNPOLARITY_HIGH
TIM1.OCNPolarity_3=TIM_OCNPOLARITY_HIGH
TIM1.OCPolarity_1=TIM_OCPOLARITY_HIGH
TIM1.OCPolarity_2=TIM_OCPOLARITY_HIGH
TIM1.OCPolarity_3=TIM_OCPOLARITY_HIGH
TIM1.OffStateIDLEMode=TIM_OSSI_ENABLE
TIM1.OffStateRunMode=TIM_OSSR_ENABLE
TIM1.Period=((PWM_PERIOD_CYCLES) / 2)
TIM1.Prescaler=((TIM_CLOCK_DIVIDER) - 1)
TIM1.Pulse-PWM\ Generation1\ CH1=((PWM_PERIOD_CYCLES) / 4)
TIM1.Pulse-PWM\ Generation2\ CH2=((PWM_PERIOD_CYCLES) / 4)
TIM1.Pulse-PWM\ Generation3\ CH3=((PWM_PERIOD_CYCLES) / 4)
TIM1.Pulse-PWM\ Generation4\ No\ Output=(((PWM_PERIOD_CYCLES) / 2) - (HTMIN))
TIM1.RepetitionCounter=(REP_COUNTER)
TIM1.TIM_MasterOutputTrigger=TIM_TRGO_RESET
USART1.BaudRate=115200
USART1.VirtualMode=VM_ASYNC
USART1.VirtualMode-Asynchronous=VM_ASYNC
USART1.WordLength=WORDLENGTH_8B
USART2.VirtualMode=VM_ASYNC
USART6.VirtualMode=VM_ASYNC
VP_FREERTOS_VS_CMSIS_V1.Mode=CMSIS_V1
VP_MotorControl_MC_ENABLED.Mode=Enabled
VP_SYS_VS_tim3.Mode=TIM3
VP_TIM1_VS_ClockSourceITR.Mode=TriggerSource_ITR1
VP_TIM1_VS_ControllerModeTrigger.Mode=Trigger Mode
VP_TIM1_VS_no_output4.Mode=PWM Generation4 No Output
board=custom

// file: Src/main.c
/* USER CODE BEGIN Header */
/**
 ******************************************************************************
 * @file           : main.c
 * @brief          : Main program body
 ******************************************************************************
 * @attention
 *
 * Copyright (c) 2023 STMicroelectronics.
 * All rights reserved.
 *
 * This software is licensed under terms that can be found in the LICENSE file
 * in the root directory of this software component.
 * If no LICENSE file comes with this software, it is provided AS-IS.
 *
 ******************************************************************************
 */
/* USER CODE END Header */
#include "main.h"
#include "cmsis_os.h"

/* USER CODE BEGIN Includes */
#include "stdio.h"
#include "hal.h"
#include "version.h"
#include "system.h"
#include "FreeRTOS.h"
/* USER CODE END Includes */

ADC_HandleTypeDef hadc1;

I2C_HandleTypeDef hi2c1;

TIM_HandleTypeDef htim1;

UART_HandleTypeDef huart1;
UART_HandleTypeDef huart2;
UART_HandleTypeDef huart6;
DMA_HandleTypeDef hdma_usart1_rx;
DMA_HandleTypeDef hdma_usart1_tx;

osThreadId mediumFrequencyHandle;
osThreadId safetyHandle;
osThreadId heartTaskHandle;
uint32_t heartTaskBuffer[ 128 ];
osStaticThreadDef_t heartTaskControlBlock;
osThreadId halTaskHandle;
uint32_t halTaskBuffer[ 128 ];
osStaticThreadDef_t halTaskControlBlock;
osMutexId my74HCMutexHandle;
osStaticMutexDef_t myMutex01ControlBlock;

void SystemClock_Config(void);
static void MX_GPIO_Init(void);
static void MX_DMA_Init(void);
static void MX_ADC1_Init(void);
static void MX_TIM1_Init(void);
static void MX_USART1_UART_Init(void);
static void MX_I2C1_Init(void);
static void MX_USART2_UART_Init(void);
static void MX_USART6_UART_Init(void);
void startMediumFrequencyTask(void const * argument);
extern void StartSafetyTask(void const * argument);
void heartTaskEntry(void const * argument);
void halTaskEntry(void const * argument);

static void MX_NVIC_Init(void);

/* USER CODE BEGIN 0 */
int fputc(int c, FILE *stream)
{
  HAL_UART_Transmit(&huart2, (unsigned char *)&c, 1, 1000);
  return 1;
}

uint16_t data = 0;
/* USER CODE END 0 */

int main(void)
{

  /* MCU Configuration--------------------------------------------------------*/

  /* Reset of all peripherals, Initializes the Flash interface and the Systick. */
  HAL_Init();

  /* Configure the system clock */
  SystemClock_Config();

  /* Initialize all configured peripherals */
  MX_GPIO_Init();
  MX_DMA_Init();
  MX_ADC1_Init();
  MX_TIM1_Init();
  MX_USART1_UART_Init();
  MX_MotorControl_Init();
  MX_I2C1_Init();
  MX_USART2_UART_Init();
  MX_USART6_UART_Init();

  /* Initialize interrupts */
  MX_NVIC_Init();
  /* USER CODE BEGIN 2 */
  HalInit();                    // 硬件初始化
  QuerySystemInfo();            // 查询系统信息
  UpdateSystemVersion(0, 1, 2); // 更新系统版本
  VariableInit();               // 变量初始化

  /* USER CODE END 2 */

  /* Create the mutex(es) */
  /* definition and creation of my74HCMutex */
  osMutexStaticDef(my74HCMutex, &myMutex01ControlBlock);
  my74HCMutexHandle = osMutexCreate(osMutex(my74HCMutex));

  /* Create the thread(s) */
  /* definition and creation of mediumFrequency */
  osThreadDef(mediumFrequency, startMediumFrequencyTask, osPriorityNormal, 0, 128);
  mediumFrequencyHandle = osThreadCreate(osThread(mediumFrequency), NULL);

  /* definition and creation of safety */
  osThreadDef(safety, StartSafetyTask, osPriorityAboveNormal, 0, 128);
  safetyHandle = osThreadCreate(osThread(safety), NULL);

  /* definition and creation of heartTask */
  osThreadStaticDef(heartTask, heartTaskEntry, osPriorityBelowNormal, 0, 128, heartTaskBuffer, &heartTaskControlBlock);
  heartTaskHandle = osThreadCreate(osThread(heartTask), NULL);

  /* definition and creation of halTask */
  osThreadStaticDef(halTask, halTaskEntry, osPriorityBelowNormal, 0, 128, halTaskBuffer, &halTaskControlBlock);
  halTaskHandle = osThreadCreate(osThread(halTask), NULL);

  /* Start scheduler */
  osKernelStart();

  /* We should never get here as control is now taken by the scheduler */
  /* Infinite loop */
  while (1)
  {

  }
}

void SystemClock_Config(void)
{
  RCC_OscInitTypeDef RCC_OscInitStruct = {0};
  RCC_ClkInitTypeDef RCC_ClkInitStruct = {0};

  /** Configure the main internal regulator output voltage
  */
  __HAL_RCC_PWR_CLK_ENABLE();
  __HAL_PWR_VOLTAGESCALING_CONFIG(PWR_REGULATOR_VOLTAGE_SCALE2);

  /** Initializes the RCC Oscillators according to the specified parameters
  * in the RCC_OscInitTypeDef structure.
  */
  RCC_OscInitStruct.OscillatorType = RCC_OSCILLATORTYPE_HSE;
  RCC_OscInitStruct.HSEState = RCC_HSE_ON;
  RCC_OscInitStruct.PLL.PLLState = RCC_PLL_ON;
  RCC_OscInitStruct.PLL.PLLSource = RCC_PLLSOURCE_HSE;
  RCC_OscInitStruct.PLL.PLLM = 4;
  RCC_OscInitStruct.PLL.PLLN = 84;
  RCC_OscInitStruct.PLL.PLLP = RCC_PLLP_DIV2;
  RCC_OscInitStruct.PLL.PLLQ = 4;
  if (HAL_RCC_OscConfig(&RCC_OscInitStruct) != HAL_OK)
  {
    Error_Handler();
  }

  /** Initializes the CPU, AHB and APB buses clocks
  */
  RCC_ClkInitStruct.ClockType = RCC_CLOCKTYPE_HCLK|RCC_CLOCKTYPE_SYSCLK
                              |RCC_CLOCKTYPE_PCLK1|RCC_CLOCKTYPE_PCLK2;
  RCC_ClkInitStruct.SYSCLKSource = RCC_SYSCLKSOURCE_PLLCLK;
  RCC_ClkInitStruct.AHBCLKDivider = RCC_SYSCLK_DIV1;
  RCC_ClkInitStruct.APB1CLKDivider = RCC_HCLK_DIV2;
  RCC_ClkInitStruct.APB2CLKDivider = RCC_HCLK_DIV1;

  if (HAL_RCC_ClockConfig(&RCC_ClkInitStruct, FLASH_LATENCY_2) != HAL_OK)
  {
    Error_Handler();
  }
}

/**
  * @brief NVIC Configuration.
  * @retval None
  */
static void MX_NVIC_Init(void)
{
  /* USART1_IRQn interrupt configuration */
  HAL_NVIC_SetPriority(USART1_IRQn, 3, 0);
  HAL_NVIC_EnableIRQ(USART1_IRQn);
  /* DMA2_Stream2_IRQn interrupt configuration */
  HAL_NVIC_SetPriority(DMA2_Stream2_IRQn, 3, 0);
  HAL_NVIC_EnableIRQ(DMA2_Stream2_IRQn);
  /* ADC_IRQn interrupt configuration */
  HAL_NVIC_SetPriority(ADC_IRQn, 2, 0);
  HAL_NVIC_EnableIRQ(ADC_IRQn);
  /* TIM1_UP_TIM10_IRQn interrupt configuration */
  HAL_NVIC_SetPriority(TIM1_UP_TIM10_IRQn, 0, 0);
  HAL_NVIC_EnableIRQ(TIM1_UP_TIM10_IRQn);
  /* TIM1_BRK_TIM9_IRQn interrupt configuration */
  HAL_NVIC_SetPriority(TIM1_BRK_TIM9_IRQn, 4, 0);
  HAL_NVIC_EnableIRQ(TIM1_BRK_TIM9_IRQn);
  /* EXTI4_IRQn interrupt configuration */
  HAL_NVIC_SetPriority(EXTI4_IRQn, 3, 0);
  HAL_NVIC_EnableIRQ(EXTI4_IRQn);
}

static void MX_ADC1_Init(void)
{

  ADC_InjectionConfTypeDef sConfigInjected = {0};
  ADC_ChannelConfTypeDef sConfig = {0};

  /** Configure the global features of the ADC (Clock, Resolution, Data Alignment and number of conversion)
  */
  hadc1.Instance = ADC1;
  hadc1.Init.ClockPrescaler = ADC_CLOCK_SYNC_PCLK_DIV4;
  hadc1.Init.Resolution = ADC_RESOLUTION_12B;
  hadc1.Init.ScanConvMode = ENABLE;
  hadc1.Init.ContinuousConvMode = DISABLE;
  hadc1.Init.DiscontinuousConvMode = DISABLE;
  hadc1.Init.ExternalTrigConvEdge = ADC_EXTERNALTRIGCONVEDGE_NONE;
  hadc1.Init.ExternalTrigConv = ADC_SOFTWARE_START;
  hadc1.Init.DataAlign = ADC_DATAALIGN_LEFT;
  hadc1.Init.NbrOfConversion = 1;
  hadc1.Init.DMAContinuousRequests = DISABLE;
  hadc1.Init.EOCSelection = ADC_EOC_SINGLE_CONV;
  if (HAL_ADC_Init(&hadc1) != HAL_OK)
  {
    Error_Handler();
  }

  /** Configures for the selected ADC injected channel its corresponding rank in the sequencer and its sample time
  */
  sConfigInjected.InjectedChannel = ADC_CHANNEL_10;
  sConfigInjected.InjectedRank = 1;
  sConfigInjected.InjectedNbrOfConversion = 3;
  sConfigInjected.InjectedSamplingTime = ADC_SAMPLETIME_56CYCLES;
  sConfigInjected.ExternalTrigInjecConvEdge = ADC_EXTERNALTRIGINJECCONVEDGE_RISING;
  sConfigInjected.ExternalTrigInjecConv = ADC_EXTERNALTRIGINJECCONV_T1_CC4;
  sConfigInjected.AutoInjectedConv = DISABLE;
  sConfigInjected.InjectedDiscontinuousConvMode = DISABLE;
  sConfigInjected.InjectedOffset = 0;
  if (HAL_ADCEx_InjectedConfigChannel(&hadc1, &sConfigInjected) != HAL_OK)
  {
    Error_Handler();
  }

  /** Configures for the selected ADC injected channel its corresponding rank in the sequencer and its sample time
  */
  sConfigInjected.InjectedChannel = ADC_CHANNEL_12;
  sConfigInjected.InjectedRank = 2;
  if (HAL_ADCEx_InjectedConfigChannel(&hadc1, &sConfigInjected) != HAL_OK)
  {
    Error_Handler();
  }

  /** Configures for the selected ADC injected channel its corresponding rank in the sequencer and its sample time
  */
  sConfigInjected.InjectedChannel = ADC_CHANNEL_13;
  sConfigInjected.InjectedRank = 3;
  if (HAL_ADCEx_InjectedConfigChannel(&hadc1, &sConfigInjected) != HAL_OK)
  {
    Error_Handler();
  }

  /** Configure for the selected ADC regular channel its corresponding rank in the sequencer and its sample time.
  */
  sConfig.Channel = ADC_CHANNEL_1;
  sConfig.Rank = 1;
  sConfig.SamplingTime = ADC_SAMPLETIME_56CYCLES;
  sConfig.Offset = 0;

  if (HAL_ADC_ConfigChannel(&hadc1, &sConfig) != HAL_OK)
  {
    Error_Handler();
  }

}

static void MX_I2C1_Init(void)
{

  hi2c1.Instance = I2C1;
  hi2c1.Init.ClockSpeed = 100000;
  hi2c1.Init.DutyCycle = I2C_DUTYCYCLE_2;
  hi2c1.Init.OwnAddress1 = 0;
  hi2c1.Init.AddressingMode = I2C_ADDRESSINGMODE_7BIT;
  hi2c1.Init.DualAddressMode = I2C_DUALADDRESS_DISABLE;
  hi2c1.Init.OwnAddress2 = 0;
  hi2c1.Init.GeneralCallMode = I2C_GENERALCALL_DISABLE;
  hi2c1.Init.NoStretchMode = I2C_NOSTRETCH_DISABLE;
  if (HAL_I2C_Init(&hi2c1) != HAL_OK)
  {
    Error_Handler();
  }

}

static void MX_TIM1_Init(void)
{

  TIM_SlaveConfigTypeDef sSlaveConfig = {0};
  TIM_MasterConfigTypeDef sMasterConfig = {0};
  TIM_OC_InitTypeDef sConfigOC = {0};
  TIM_BreakDeadTimeConfigTypeDef sBreakDeadTimeConfig = {0};

  htim1.Instance = TIM1;
  htim1.Init.Prescaler = ((TIM_CLOCK_DIVIDER) - 1);
  htim1.Init.CounterMode = TIM_COUNTERMODE_CENTERALIGNED1;
  htim1.Init.Period = ((PWM_PERIOD_CYCLES) / 2);
  htim1.Init.ClockDivision = TIM_CLOCKDIVISION_DIV2;
  htim1.Init.RepetitionCounter = (REP_COUNTER);
  htim1.Init.AutoReloadPreload = TIM_AUTORELOAD_PRELOAD_DISABLE;
  if (HAL_TIM_Base_Init(&htim1) != HAL_OK)
  {
    Error_Handler();
  }
  if (HAL_TIM_PWM_Init(&htim1) != HAL_OK)
  {
    Error_Handler();
  }
  sSlaveConfig.SlaveMode = TIM_SLAVEMODE_TRIGGER;
  sSlaveConfig.InputTrigger = TIM_TS_ITR1;
  if (HAL_TIM_SlaveConfigSynchro(&htim1, &sSlaveConfig) != HAL_OK)
  {
    Error_Handler();
  }
  sMasterConfig.MasterOutputTrigger = TIM_TRGO_RESET;
  sMasterConfig.MasterSlaveMode = TIM_MASTERSLAVEMODE_DISABLE;
  if (HAL_TIMEx_MasterConfigSynchronization(&htim1, &sMasterConfig) != HAL_OK)
  {
    Error_Handler();
  }
  sConfigOC.OCMode = TIM_OCMODE_PWM1;
  sConfigOC.Pulse = 0;
  sConfigOC.OCPolarity = TIM_OCPOLARITY_HIGH;
  sConfigOC.OCNPolarity = TIM_OCNPOLARITY_HIGH;
  sConfigOC.OCFastMode = TIM_OCFAST_DISABLE;
  sConfigOC.OCIdleState = TIM_OCIDLESTATE_RESET;
  sConfigOC.OCNIdleState = TIM_OCNIDLESTATE_RESET;
  if (HAL_TIM_PWM_ConfigChannel(&htim1, &sConfigOC, TIM_CHANNEL_1) != HAL_OK)
  {
    Error_Handler();
  }
  if (HAL_TIM_PWM_ConfigChannel(&htim1, &sConfigOC, TIM_CHANNEL_2) != HAL_OK)
  {
    Error_Handler();
  }
  if (HAL_TIM_PWM_ConfigChannel(&htim1, &sConfigOC, TIM_CHANNEL_3) != HAL_OK)
  {
    Error_Handler();
  }
  sConfigOC.OCMode = TIM_OCMODE_PWM2;
  sConfigOC.Pulse = (((PWM_PERIOD_CYCLES) / 2) - (HTMIN));
  if (HAL_TIM_PWM_ConfigChannel(&htim1, &sConfigOC, TIM_CHANNEL_4) != HAL_OK)
  {
    Error_Handler();
  }
  sBreakDeadTimeConfig.OffStateRunMode = TIM_OSSR_ENABLE;
  sBreakDeadTimeConfig.OffStateIDLEMode = TIM_OSSI_ENABLE;
  sBreakDeadTimeConfig.LockLevel = TIM_LOCKLEVEL_1;
  sBreakDeadTimeConfig.DeadTime = ((DEAD_TIME_COUNTS) / 2);
  sBreakDeadTimeConfig.BreakState = TIM_BREAK_ENABLE;
  sBreakDeadTimeConfig.BreakPolarity = TIM_BREAKPOLARITY_LOW;
  sBreakDeadTimeConfig.AutomaticOutput = TIM_AUTOMATICOUTPUT_DISABLE;
  if (HAL_TIMEx_ConfigBreakDeadTime(&htim1, &sBreakDeadTimeConfig) != HAL_OK)
  {
    Error_Handler();
  }
  HAL_TIM_MspPostInit(&htim1);

}

static void MX_USART1_UART_Init(void)
{

  huart1.Instance = USART1;
  huart1.Init.BaudRate = 115200;
  huart1.Init.WordLength = UART_WORDLENGTH_8B;
  huart1.Init.StopBits = UART_STOPBITS_1;
  huart1.Init.Parity = UART_PARITY_NONE;
  huart1.Init.Mode = UART_MODE_TX_RX;
  huart1.Init.HwFlowCtl = UART_HWCONTROL_NONE;
  huart1.Init.OverSampling = UART_OVERSAMPLING_16;
  if (HAL_UART_Init(&huart1) != HAL_OK)
  {
    Error_Handler();
  }

}

static void MX_USART2_UART_Init(void)
{

  huart2.Instance = USART2;
  huart2.Init.BaudRate = 115200;
  huart2.Init.WordLength = UART_WORDLENGTH_8B;
  huart2.Init.StopBits = UART_STOPBITS_1;
  huart2.Init.Parity = UART_PARITY_NONE;
  huart2.Init.Mode = UART_MODE_TX_RX;
  huart2.Init.HwFlowCtl = UART_HWCONTROL_NONE;
  huart2.Init.OverSampling = UART_OVERSAMPLING_16;
  if (HAL_UART_Init(&huart2) != HAL_OK)
  {
    Error_Handler();
  }

}

static void MX_USART6_UART_Init(void)
{

  huart6.Instance = USART6;
  huart6.Init.BaudRate = 115200;
  huart6.Init.WordLength = UART_WORDLENGTH_8B;
  huart6.Init.StopBits = UART_STOPBITS_1;
  huart6.Init.Parity = UART_PARITY_NONE;
  huart6.Init.Mode = UART_MODE_TX_RX;
  huart6.Init.HwFlowCtl = UART_HWCONTROL_NONE;
  huart6.Init.OverSampling = UART_OVERSAMPLING_16;
  if (HAL_UART_Init(&huart6) != HAL_OK)
  {
    Error_Handler();
  }

}

static void MX_DMA_Init(void)
{

  /* DMA controller clock enable */
  __HAL_RCC_DMA2_CLK_ENABLE();

}

static void MX_GPIO_Init(void)
{
  GPIO_InitTypeDef GPIO_InitStruct = {0};

  /* GPIO Ports Clock Enable */
  __HAL_RCC_GPIOH_CLK_ENABLE();
  __HAL_RCC_GPIOC_CLK_ENABLE();
  __HAL_RCC_GPIOA_CLK_ENABLE();
  __HAL_RCC_GPIOB_CLK_ENABLE();

  /*Configure GPIO pin Output Level */
  HAL_GPIO_WritePin(FLASH_LED_GPIO_Port, FLASH_LED_Pin, GPIO_PIN_RESET);

  /*Configure GPIO pin Output Level */
  HAL_GPIO_WritePin(GPIOB, TM1650_CLK_Pin|CLK_Pin|SL_Pin|TM1650_DIO_Pin, GPIO_PIN_RESET);

  /*Configure GPIO pin : Start_Stop_Pin */
  GPIO_InitStruct.Pin = Start_Stop_Pin;
  GPIO_InitStruct.Mode = GPIO_MODE_IT_FALLING;
  GPIO_InitStruct.Pull = GPIO_PULLUP;
  HAL_GPIO_Init(Start_Stop_GPIO_Port, &GPIO_InitStruct);

  /*Configure GPIO pin : FLASH_LED_Pin */
  GPIO_InitStruct.Pin = FLASH_LED_Pin;
  GPIO_InitStruct.Mode = GPIO_MODE_OUTPUT_PP;
  GPIO_InitStruct.Pull = GPIO_NOPULL;
  GPIO_InitStruct.Speed = GPIO_SPEED_FREQ_LOW;
  HAL_GPIO_Init(FLASH_LED_GPIO_Port, &GPIO_InitStruct);

  /*Configure GPIO pins : TM1650_CLK_Pin TM1650_DIO_Pin */
  GPIO_InitStruct.Pin = TM1650_CLK_Pin|TM1650_DIO_Pin;
  GPIO_InitStruct.Mode = GPIO_MODE_OUTPUT_OD;
  GPIO_InitStruct.Pull = GPIO_NOPULL;
  GPIO_InitStruct.Speed = GPIO_SPEED_FREQ_LOW;
  HAL_GPIO_Init(GPIOB, &GPIO_InitStruct);

  /*Configure GPIO pin : CLK_Pin */
  GPIO_InitStruct.Pin = CLK_Pin;
  GPIO_InitStruct.Mode = GPIO_MODE_OUTPUT_PP;
  GPIO_InitStruct.Pull = GPIO_NOPULL;
  GPIO_InitStruct.Speed = GPIO_SPEED_FREQ_HIGH;
  HAL_GPIO_Init(CLK_GPIO_Port, &GPIO_InitStruct);

  /*Configure GPIO pin : DATA_Pin */
  GPIO_InitStruct.Pin = DATA_Pin;
  GPIO_InitStruct.Mode = GPIO_MODE_INPUT;
  GPIO_InitStruct.Pull = GPIO_PULLUP;
  HAL_GPIO_Init(DATA_GPIO_Port, &GPIO_InitStruct);

  /*Configure GPIO pin : SL_Pin */
  GPIO_InitStruct.Pin = SL_Pin;
  GPIO_InitStruct.Mode = GPIO_MODE_OUTPUT_PP;
  GPIO_InitStruct.Pull = GPIO_PULLUP;
  GPIO_InitStruct.Speed = GPIO_SPEED_FREQ_LOW;
  HAL_GPIO_Init(SL_GPIO_Port, &GPIO_InitStruct);

}

__weak void startMediumFrequencyTask(void const * argument)
{
  for (;;)
  {
    osDelay(1);
  }
}

void heartTaskEntry(void const * argument)
{
  /* USER CODE BEGIN heartTaskEntry */
  /* Infinite loop */
  for (;;)
  {

    HAL_GPIO_TogglePin(FLASH_LED_GPIO_Port, FLASH_LED_Pin);
    osDelay(1000);
  }
  /* USER CODE END heartTaskEntry */
}

void halTaskEntry(void const * argument)
{
  /* USER CODE BEGIN halTaskEntry */
  /* Infinite loop */
  for (;;)
  {
    //UserAppliactionLoop(); // 顶层应用

    osDelay(100);
  }
  /* USER CODE END halTaskEntry */
}

void HAL_TIM_PeriodElapsedCallback(TIM_HandleTypeDef *htim)
{
  if (htim->Instance == TIM3) {
    HAL_IncTick();
  }
}

void Error_Handler(void)
{
  __disable_irq();
  while (1)
  {
  }
}
